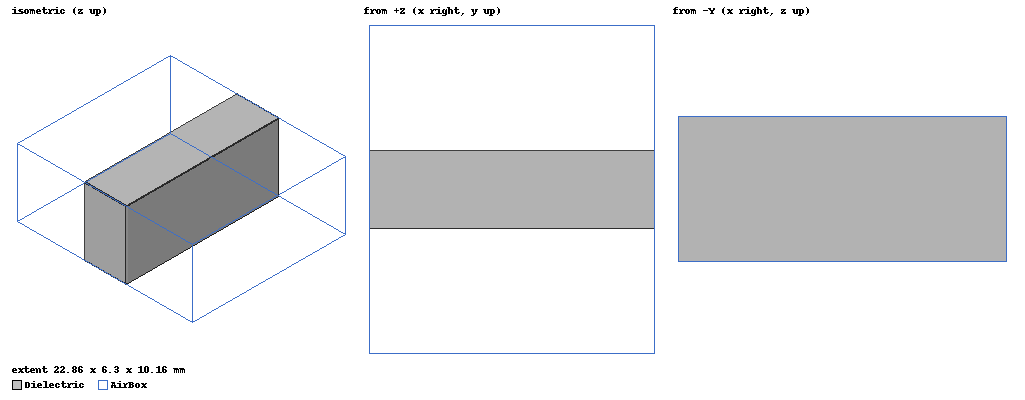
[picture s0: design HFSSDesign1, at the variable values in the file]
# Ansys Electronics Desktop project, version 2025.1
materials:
  vacuum: permittivity=1
  Teflon (tm): permittivity=2.1 dielectric_loss_tangent=0.001

design HFSSDesign1 (HFSS, HFSS Modal Network, model units mm)
options: Allow_Material_Override
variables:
  a = 22.86mm
  Lfeed = 10mm
  d = 6.3mm
  b = 10.16mm
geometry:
  AirBox [vacuum] = box(corner=(-a/2, -Lfeed - d/2, -b/2), size=(a, 2*Lfeed + d, b))
  Dielectric [Teflon (tm)] = box(corner=(-a/2, -d/2, -b/2), size=(a, d, b))
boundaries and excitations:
  1: Wave Port Faces=AirBox.face(-y) WavePortType=Default NumModes=1 DeembedDist=LFeed Modes{Mode1{IntLine{(0, -13.15, 5.08) -> (0, -13.15, -5.08)} CharImp=Zpv}}
  2: Wave Port Faces=AirBox.face(+y) WavePortType=Default NumModes=1 DeembedDist=LFeed Modes{Mode1{IntLine{(0, 13.15, 5.08) -> (0, 13.15, -5.08)} CharImp=Zpv}}
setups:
  Setup1: HfssDriven Frequency=12GHz MaxDeltaS=0.02 MaximumPasses=25 MinimumPasses=4 MinimumConvergedPasses=3 PercentRefinement=30 BasisOrder=1 PortAccuracy=2 DrivenSolverType="Direct Solver"
    sweep Sweep: 8GHz to 12GHz, 401 points; Type=Interpolating InterpTolerance=0.5 InterpMaxSolns=250 InterpUsePortImped=false PassivityErrorTolerance=0.0001
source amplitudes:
  1:1: 1W 0deg
  2:1: 0W 0deg
